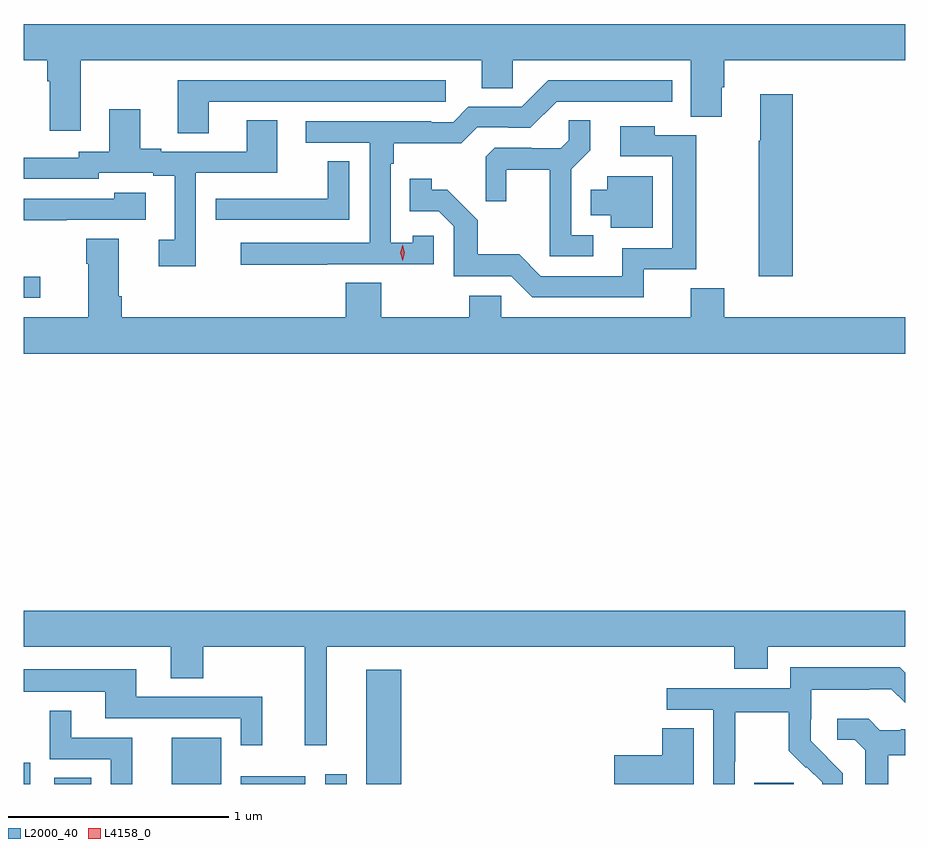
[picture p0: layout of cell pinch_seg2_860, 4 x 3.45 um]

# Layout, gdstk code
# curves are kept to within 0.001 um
import gdstk
lib = gdstk.Library(unit=1e-6, precision=1e-09)
def R(c, l, rs):  # rectangles x0, y0, x1, y1
    for r in rs: c.add(gdstk.rectangle(r[:2], r[2:], *l))
def P(c, l, *ps):  # polygons
    for p in ps: c.add(gdstk.Polygon(p, *l))
L2000_40 = (2000, 40)
L4158_0 = (4158, 0)

pinch_seg2_860 = lib.new_cell('pinch_seg2_860')
R(pinch_seg2_860, L2000_40, [(454.382,588.406,454.411,588.502), (454.52,588.406,454.687,588.434), (455.054,588.406,455.278,588.616), (455.366,588.406,455.659,588.442), (455.751,588.406,455.847,588.451), (455.936,588.406,456.095,588.925), (457.697,588.406,457.876,588.411), (454.382,590.613,454.456,590.709)])
P(pinch_seg2_860, L2000_40, [(454.639,591.692),(456.461,591.692),(456.461,591.565),(456.6,591.565),(456.6,591.692),(457.409,591.692),(457.409,591.436),(457.549,591.436),(457.549,591.57),(457.562,591.57),(457.562,591.692),(458.382,591.692),(458.382,591.856),(454.382,591.856),(454.382,591.692),(454.487,591.692),(454.487,591.596),(454.499,591.596),(454.499,591.372),(454.639,591.372)],
  [(455.759,590.766),(456.243,590.766),(456.243,590.895),(456.147,590.895),(456.147,590.863),(456.048,590.863),(456.048,591.221),(456.061,591.221),(456.061,591.314),(456.368,591.314),(456.441,591.387),(456.58,591.387),(456.58,591.384),(456.681,591.384),(456.801,591.504),(457.324,591.504),(457.324,591.6),(456.762,591.6),(456.642,591.48),(456.399,591.48),(456.33,591.411),(456.23,591.411),(456.23,591.414),(455.661,591.414),(455.661,591.318),(455.952,591.318),(455.952,590.862),(455.367,590.862),(455.367,590.764),(455.759,590.764)],
  [(455.221,591.504),(456.298,591.504),(456.298,591.6),(455.081,591.6),(455.081,591.361),(455.221,591.361)],
  [(457.871,591.538),(457.724,591.538),(457.724,591.325),(457.717,591.325),(457.717,590.712),(457.871,590.712)],
  [(455.163,591.18),(455.533,591.18),(455.533,591.419),(455.393,591.419),(455.393,591.276),(455.005,591.276),(455.005,591.289),(454.909,591.289),(454.909,591.469),(454.769,591.469),(454.769,591.276),(454.632,591.276),(454.632,591.249),(454.382,591.249),(454.382,591.153),(454.722,591.153),(454.722,591.18),(454.97,591.18),(454.97,591.168),(455.066,591.168),(455.066,590.877),(454.995,590.877),(454.995,590.757),(455.163,590.757)],
  [(456.967,590.898),(456.867,590.898),(456.867,591.197),(456.953,591.283),(456.953,591.419),(456.855,591.419),(456.855,591.328),(456.818,591.291),(456.684,591.291),(456.684,591.294),(456.519,591.294),(456.478,591.253),(456.478,591.051),(456.572,591.051),(456.572,591.194),(456.77,591.194),(456.77,590.802),(456.967,590.802)],
  [(457.196,590.742),(457.435,590.742),(457.435,591.351),(457.245,591.351),(457.245,591.391),(457.089,591.391),(457.089,591.255),(457.326,591.255),(457.326,590.838),(457.097,590.838),(457.097,590.712),(456.729,590.712),(456.631,590.811),(456.442,590.811),(456.442,590.966),(456.304,591.104),(456.234,591.104),(456.234,591.154),(456.133,591.154),(456.133,591.006),(456.264,591.006),(456.333,590.937),(456.333,590.712),(456.594,590.712),(456.69,590.616),(457.196,590.616)],
  [(455.859,591.233),(455.761,591.233),(455.761,591.063),(455.365,591.063),(455.365,591.062),(455.253,591.062),(455.253,590.967),(455.859,590.967)],
  [(457.237,591.166),(457.031,591.166),(457.031,591.103),(456.956,591.103),(456.956,590.987),(457.046,590.987),(457.046,590.93),(457.237,590.93)],
  [(454.577,590.967),(454.936,590.967),(454.936,591.091),(454.791,591.091),(454.791,591.063),(454.382,591.063),(454.382,590.965),(454.577,590.965)],
  [(458.382,590.524),(457.562,590.524),(457.562,590.657),(457.409,590.657),(457.409,590.524),(456.549,590.524),(456.549,590.622),(456.403,590.622),(456.403,590.524),(456.003,590.524),(456.003,590.681),(455.843,590.681),(455.843,590.524),(454.826,590.524),(454.826,590.62),(454.813,590.62),(454.813,590.881),(454.666,590.881),(454.666,590.768),(454.673,590.768),(454.673,590.524),(454.382,590.524),(454.382,590.36),(458.382,590.36)],
  [(455.756,589.028),(457.607,589.028),(457.607,588.929),(457.759,588.929),(457.759,589.028),(458.382,589.028),(458.382,589.192),(454.382,589.192),(454.382,589.028),(455.048,589.028),(455.048,588.886),(455.196,588.886),(455.196,589.028),(455.657,589.028),(455.657,588.582),(455.756,588.582)],
  [(457.608,588.508),(457.611,588.508),(457.611,588.732),(457.855,588.732),(457.855,588.557),(457.932,588.48),(457.935,588.483),(458.006,588.413),(458.006,588.406),(458.1,588.406),(458.1,588.454),(457.954,588.602),(457.954,588.699),(457.956,588.699),(457.956,588.833),(458.219,588.833),(458.219,588.837),(458.319,588.837),(458.382,588.774),(458.382,588.912),(458.357,588.937),(457.86,588.937),(457.86,588.84),(457.299,588.84),(457.299,588.744),(457.512,588.744),(457.512,588.406),(457.608,588.406)],
  [(455.465,588.801),(454.891,588.801),(454.891,588.928),(454.382,588.928),(454.382,588.824),(454.751,588.824),(454.751,588.705),(455.367,588.705),(455.367,588.582),(455.465,588.582)],
  [(454.874,588.615),(454.597,588.615),(454.597,588.739),(454.499,588.739),(454.499,588.519),(454.776,588.519),(454.776,588.406),(454.874,588.406)],
  [(458.305,588.536),(458.382,588.536),(458.382,588.654),(458.362,588.654),(458.362,588.651),(458.268,588.651),(458.216,588.703),(458.073,588.703),(458.073,588.606),(458.154,588.606),(458.201,588.559),(458.201,588.406),(458.305,588.406)],
  [(457.423,588.659),(457.28,588.659),(457.28,588.536),(457.062,588.536),(457.062,588.406),(457.423,588.406)])
P(pinch_seg2_860, L4158_0, [(456.101,590.781),(456.101,590.781),(456.091,590.817),(456.101,590.853),(456.101,590.854),(456.101,590.853),(456.111,590.817),(456.101,590.781)])

lib.write_gds('pinch_seg2_860.gds')
